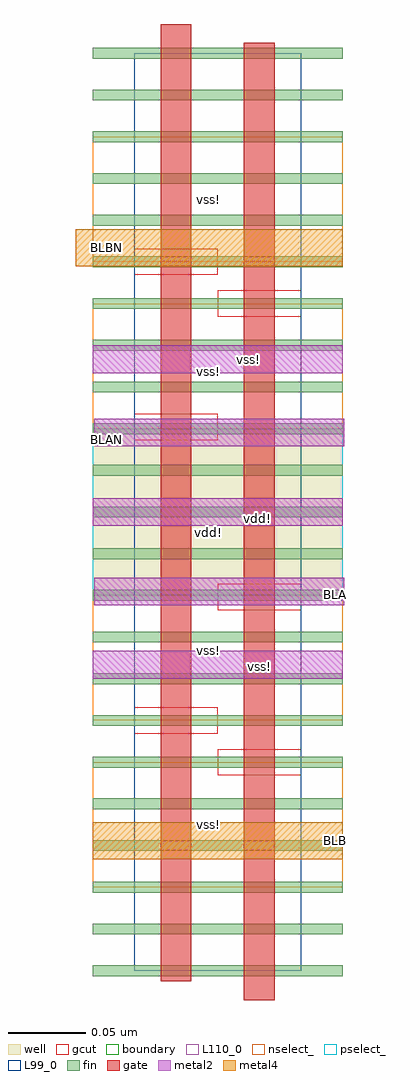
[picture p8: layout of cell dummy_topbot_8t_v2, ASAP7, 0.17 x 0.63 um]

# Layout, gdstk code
import gdstk
lib = gdstk.Library(unit=1e-6, precision=2.5e-10)
def R(c, l, rs):  # rectangles x0, y0, x1, y1
    for r in rs: c.add(gdstk.rectangle(r[:2], r[2:], *l))
def A(c, l, x, y, w, h, nx, ny, dx, dy):  # array of equal rectangles
    R(c, l, [(x+i*dx, y+j*dy, x+i*dx+w, y+j*dy+h) for i in range(nx) for j in range(ny)])
well = (1, 0)
fin = (2, 0)
gate = (7, 0)
gcut = (10, 0)
nselect_ = (12, 0)
pselect_ = (13, 0)
metal2 = (20, 0)
metal4 = (40, 0)
L99_0 = (99, 0)
boundary = (100, 0)
L110_0 = (110, 0)

dummy_topbot_8t_v2 = lib.new_cell('dummy_topbot_8t_v2')
R(dummy_topbot_8t_v2, well, [(-0.027,0.081,0.135,0.189)])
A(dummy_topbot_8t_v2, fin, -0.027, -0.1655, 0.162, 0.007, 1, 23, 0, 0.027)
R(dummy_topbot_8t_v2, gate, [(0.071,-0.181,0.091,0.439), (0.017,-0.169,0.037,0.451)])
R(dummy_topbot_8t_v2, gcut, [(0.054,-0.0355,0.108,-0.0185), (0,-0.0085,0.054,0.0085), (0.054,0.0715,0.108,0.0885), (0,0.1815,0.054,0.1985), (0.054,0.2615,0.108,0.2785), (0,0.2885,0.054,0.3055)])
R(dummy_topbot_8t_v2, nselect_, [(-0.027,-0.108,0.135,-0.027), (-0.027,0,0.135,0.081), (-0.027,0.189,0.135,0.27), (-0.027,0.297,0.135,0.378)])
R(dummy_topbot_8t_v2, pselect_, [(-0.027,0.081,0.135,0.189)])
A(dummy_topbot_8t_v2, metal2, -0.027, 0.027, 0.162, 0.018, 1, 3, 0, 0.099)
R(dummy_topbot_8t_v2, metal2, [(-0.026,0.0745,0.136,0.0925), (-0.026,0.1775,0.136,0.1955)])
R(dummy_topbot_8t_v2, metal4, [(-0.027,-0.09,0.135,-0.066), (-0.038,0.294,0.135,0.318)])
R(dummy_topbot_8t_v2, L99_0, [(0,-0.162,0.108,0.432)])
R(dummy_topbot_8t_v2, boundary, [(0,-0.162,0.108,0.432)])
R(dummy_topbot_8t_v2, L110_0, [(0,-0.162,0.108,0.432)])
dummy_topbot_8t_v2.add(gdstk.Label('vss!', (0.081,0.035), layer=20, texttype=251))
dummy_topbot_8t_v2.add(gdstk.Label('vss!', (0.074,0.234), layer=20, texttype=251))
dummy_topbot_8t_v2.add(gdstk.Label('vdd!', (0.0795,0.1305), layer=20, texttype=251))
dummy_topbot_8t_v2.add(gdstk.Label('BLA', (0.13,0.0815), layer=20, texttype=251))
dummy_topbot_8t_v2.add(gdstk.Label('BLAN', (-0.018,0.182), layer=20, texttype=251))
dummy_topbot_8t_v2.add(gdstk.Label('vdd!', (0.048,0.122), layer=1, texttype=251))
dummy_topbot_8t_v2.add(gdstk.Label('vss!', (0.048,0.0455), layer=3, texttype=251))
dummy_topbot_8t_v2.add(gdstk.Label('vss!', (0.048,0.226), layer=3, texttype=251))
dummy_topbot_8t_v2.add(gdstk.Label('BLBN', (-0.018,0.306), layer=40, texttype=251))
dummy_topbot_8t_v2.add(gdstk.Label('BLB', (0.13,-0.078), layer=40, texttype=251))
dummy_topbot_8t_v2.add(gdstk.Label('vss!', (0.048,0.3375), layer=3, texttype=251))
dummy_topbot_8t_v2.add(gdstk.Label('vss!', (0.048,-0.0675), layer=3, texttype=251))

lib.write_gds('dummy_topbot_8t_v2.gds')
